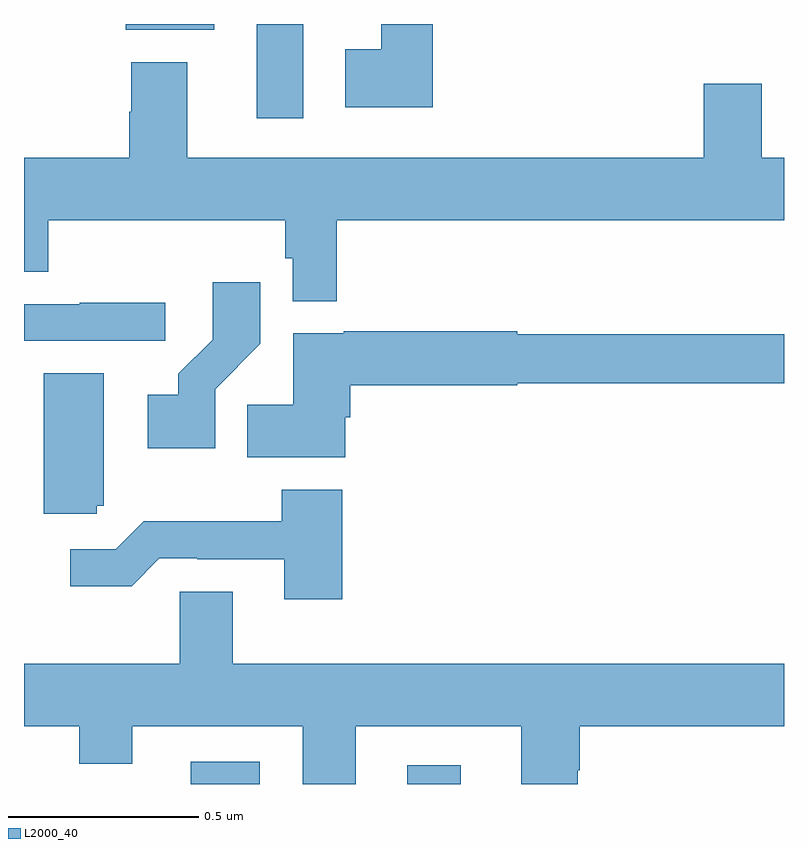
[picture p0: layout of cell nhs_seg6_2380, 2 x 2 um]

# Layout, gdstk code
import gdstk
lib = gdstk.Library(unit=1e-6, precision=1e-09)
def R(c, l, rs):  # rectangles x0, y0, x1, y1
    for r in rs: c.add(gdstk.rectangle(r[:2], r[2:], *l))
def P(c, l, *ps):  # polygons
    for p in ps: c.add(gdstk.Polygon(p, *l))
L2000_40 = (2000, 40)

nhs_seg6_2380 = lib.new_cell('nhs_seg6_2380')
R(nhs_seg6_2380, L2000_40, [(142.439,964.5,142.62,964.558), (143.009,964.5,143.149,964.549), (142.613,966.252,142.735,966.5), (142.268,966.485,142.501,966.5)])
P(nhs_seg6_2380, L2000_40, [(143.075,966.5),(142.94,966.5),(142.94,966.433),(142.845,966.433),(142.845,966.281),(143.075,966.281)],
  [(142.823,965.984),(144,965.984),(144,966.148),(143.941,966.148),(143.941,966.343),(143.789,966.343),(143.789,966.148),(142.429,966.148),(142.429,966.4),(142.282,966.4),(142.282,966.269),(142.277,966.269),(142.277,966.148),(142,966.148),(142,965.848),(142.064,965.848),(142.064,965.984),(142.687,965.984),(142.687,965.883),(142.707,965.883),(142.707,965.771),(142.823,965.771)],
  [(142.503,965.539),(142.622,965.658),(142.622,965.821),(142.497,965.821),(142.497,965.669),(142.406,965.579),(142.406,965.524),(142.326,965.524),(142.326,965.384),(142.503,965.384)],
  [(142.372,965.766),(142.147,965.766),(142.147,965.763),(142,965.763),(142,965.667),(142.372,965.667)],
  [(142.846,965.465),(142.859,965.465),(142.859,965.549),(143.298,965.549),(143.298,965.554),(144,965.554),(144,965.683),(143.298,965.683),(143.298,965.691),(142.842,965.691),(142.842,965.686),(142.709,965.686),(142.709,965.498),(142.588,965.498),(142.588,965.36),(142.846,965.36)],
  [(142.191,965.232),(142.21,965.232),(142.21,965.581),(142.052,965.581),(142.052,965.211),(142.191,965.211)],
  [(142.838,965.275),(142.678,965.275),(142.678,965.191),(142.315,965.191),(142.242,965.118),(142.122,965.118),(142.122,965.021),(142.283,965.021),(142.356,965.094),(142.456,965.094),(142.456,965.091),(142.685,965.091),(142.685,964.986),(142.838,964.986)],
  [(142.873,964.652),(143.309,964.652),(143.309,964.5),(143.457,964.5),(143.457,964.536),(143.462,964.536),(143.462,964.652),(144,964.652),(144,964.816),(142.549,964.816),(142.549,965.006),(142.41,965.006),(142.41,964.816),(142,964.816),(142,964.652),(142.145,964.652),(142.145,964.553),(142.285,964.553),(142.285,964.652),(142.733,964.652),(142.733,964.5),(142.873,964.5)])

lib.write_gds('nhs_seg6_2380.gds')
